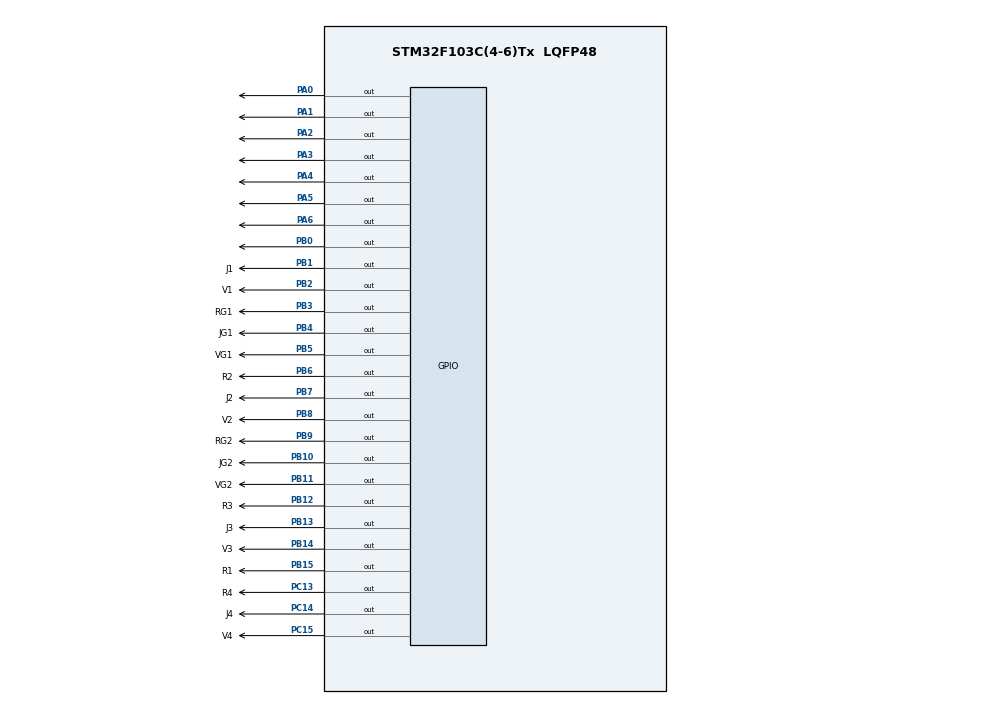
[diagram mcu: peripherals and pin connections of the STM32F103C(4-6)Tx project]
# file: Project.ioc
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Mcu.Family=STM32F1
Mcu.Name=STM32F103C(4-6)Tx
Mcu.Package=LQFP48
NVIC.PriorityGroup=NVIC_PRIORITYGROUP_4
PA0-WKUP.Signal=GPIO_Output
PA1.GPIO_PuPd=GPIO_PULLUP
PA1.Signal=GPIO_Output
PA2.GPIO_PuPd=GPIO_PULLUP
PA2.Signal=GPIO_Output
PA3.GPIO_PuPd=GPIO_PULLUP
PA3.Signal=GPIO_Output
PA4.GPIO_PuPd=GPIO_PULLUP
PA4.Signal=GPIO_Output
PA5.GPIO_PuPd=GPIO_PULLUP
PA5.Signal=GPIO_Output
PA6.Signal=GPIO_Output
PB0.Signal=GPIO_Output
PB1.GPIO_Label=J1
PB1.Signal=GPIO_Output
PB10.GPIO_Label=JG2
PB10.Signal=GPIO_Output
PB11.GPIO_Label=VG2
PB11.Signal=GPIO_Output
PB12.GPIO_Label=R3
PB12.Signal=GPIO_Output
PB13.GPIO_Label=J3
PB13.Signal=GPIO_Output
PB14.GPIO_Label=V3
PB14.Signal=GPIO_Output
PB15.GPIO_Label=R1
PB15.Signal=GPIO_Output
PB2.GPIO_Label=V1
PB2.Signal=GPIO_Output
PB3.GPIO_Label=RG1
PB3.Signal=GPIO_Output
PB4.GPIO_Label=JG1
PB4.Signal=GPIO_Output
PB5.GPIO_Label=VG1
PB5.Signal=GPIO_Output
PB6.GPIO_Label=R2
PB6.Signal=GPIO_Output
PB7.GPIO_Label=J2
PB7.Signal=GPIO_Output
PB8.GPIO_Label=V2
PB8.Signal=GPIO_Output
PB9.GPIO_Label=RG2
PB9.Signal=GPIO_Output
PC13-TAMPER-RTC.GPIO_Label=R4
PC13-TAMPER-RTC.Signal=GPIO_Output
PC14-OSC32_IN.GPIO_Label=J4
PC14-OSC32_IN.Signal=GPIO_Output
PC15-OSC32_OUT.GPIO_Label=V4
PC15-OSC32_OUT.Signal=GPIO_Output
ProjectManager.HeapSize=0x200
ProjectManager.StackSize=0x400
ProjectManager.TargetToolchain=STM32CubeIDE
RCC.APB1Freq_Value=8000000
RCC.APB2Freq_Value=8000000
VP_SYS_VS_ND.Mode=No_Debug
board=custom

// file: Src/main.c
/* USER CODE BEGIN Header */
/**
  ******************************************************************************
  * @file           : main.c
  * @brief          : Main program body
  ******************************************************************************
  * @attention
  *
  * <h2><center>&copy; Copyright (c) 2023 STMicroelectronics.
  * All rights reserved.</center></h2>
  *
  * This software component is licensed by ST under BSD 3-Clause license,
  * the "License"; You may not use this file except in compliance with the
  * License. You may obtain a copy of the License at:
  *                        opensource.org/licenses/BSD-3-Clause
  *
  ******************************************************************************
  */
/* USER CODE END Header */

#include "main.h"

void SystemClock_Config(void);
static void MX_GPIO_Init(void);

/* USER CODE BEGIN 0 */
void Decompt()
{
  uint8_t i,T[10]={0xc0, 0xf9, 0xa4, 0xb0, 0x99,0x92, 0x82, 0xf8, 0x80, 0x90};
  for (i=5;i>0;i--)
  {
    GPIOA->ODR= T[i-1];
    HAL_GPIO_TogglePin(GPIOB, GPIO_PIN_0);
    HAL_Delay(1000);
  }
}
/* USER CODE END 0 */

int main(void)
{

  /* MCU Configuration--------------------------------------------------------*/

  /* Reset of all peripherals, Initializes the Flash interface and the Systick. */
  HAL_Init();

  /* Configure the system clock */
  SystemClock_Config();

  /* Initialize all configured peripherals */
  MX_GPIO_Init();

  /* Infinite loop */
  while (1)
  {

    /* USER CODE BEGIN 3 */

    //Turn ON V1,V2,RG1,RG2 and R3
    HAL_GPIO_WritePin(GPIOB,V1_Pin|RG1_Pin |V2_Pin|RG2_Pin|R3_Pin, GPIO_PIN_SET);
    HAL_GPIO_WritePin(GPIOC,R4_Pin, GPIO_PIN_SET);
    //Turn OFF J1,J2,J3 and J4
    HAL_GPIO_WritePin(GPIOB,J1_Pin|J2_Pin|J3_Pin, GPIO_PIN_RESET);
    HAL_GPIO_WritePin(GPIOC,J4_Pin, GPIO_PIN_RESET);

   //Decompt
    Decompt();

    //Turn ON J1,J2,JG1 et JG2
    HAL_GPIO_WritePin(GPIOB,J1_Pin|JG1_Pin|J2_Pin|JG2_Pin,GPIO_PIN_SET);
    //Turn OFF V1 ,V2,RG1,RG2
    HAL_GPIO_WritePin(GPIOB,V1_Pin|V2_Pin|RG1_Pin|RG2_Pin, GPIO_PIN_RESET);

    //delay
    HAL_Delay(1000);

    //Turn OFF J1, J2 ,JG1,JG2, RG1, RG2,
    HAL_GPIO_WritePin(GPIOB,J1_Pin|JG1_Pin|RG1_Pin|J2_Pin|JG2_Pin|RG2_Pin,GPIO_PIN_RESET);
    //Turn ON R1,R2,VG1, VG2
    HAL_GPIO_WritePin(GPIOB, R1_Pin|R2_Pin|VG2_Pin|VG1_Pin, GPIO_PIN_SET);
    //Decompt
    Decompt();

    //allumer JG1,JG2,J3 and J4
    HAL_GPIO_WritePin(GPIOB,JG1_Pin|JG2_Pin|J3_Pin,GPIO_PIN_SET);
    HAL_GPIO_WritePin(GPIOC,J4_Pin,GPIO_PIN_SET);
    // Turn OFF VG1 ,VG2 and R3
    HAL_GPIO_WritePin(GPIOB,VG1_Pin|VG2_Pin|R3_Pin, GPIO_PIN_RESET);
    HAL_GPIO_WritePin(GPIOC,R4_Pin, GPIO_PIN_RESET);
    HAL_Delay(1000);

    //Turn ON V3,V4,RG1 et RG2
    HAL_GPIO_WritePin(GPIOB,V3_Pin|RG1_Pin|RG2_Pin,GPIO_PIN_SET);
    HAL_GPIO_WritePin(GPIOC,V4_Pin,GPIO_PIN_SET);
    //Turn OFF R3, R4, J3, J4, JG1 et JG2
    HAL_GPIO_WritePin(GPIOB,J3_Pin|R3_Pin|JG1_Pin|JG2_Pin,GPIO_PIN_RESET);
    HAL_GPIO_WritePin(GPIOC,J4_Pin|R4_Pin,GPIO_PIN_RESET);
    //Decompt
    Decompt();

    // Turn OFF V3,V4,R1 and R2
    HAL_GPIO_WritePin(GPIOB,V3_Pin|R1_Pin|R2_Pin,GPIO_PIN_RESET);
    HAL_GPIO_WritePin(GPIOC,V4_Pin,GPIO_PIN_RESET);
    //Turn ON J1,J2,J3 and J4
    HAL_GPIO_WritePin(GPIOB,J1_Pin|J2_Pin|J3_Pin,GPIO_PIN_SET);
    HAL_GPIO_WritePin(GPIOC,J4_Pin,GPIO_PIN_SET);
    HAL_Delay(1000);
  }
  /* USER CODE END 3 */
}

void SystemClock_Config(void)
{
  RCC_OscInitTypeDef RCC_OscInitStruct = {0};
  RCC_ClkInitTypeDef RCC_ClkInitStruct = {0};

  /** Initializes the CPU, AHB and APB busses clocks
  */
  RCC_OscInitStruct.OscillatorType = RCC_OSCILLATORTYPE_HSI;
  RCC_OscInitStruct.HSIState = RCC_HSI_ON;
  RCC_OscInitStruct.HSICalibrationValue = RCC_HSICALIBRATION_DEFAULT;
  RCC_OscInitStruct.PLL.PLLState = RCC_PLL_NONE;
  if (HAL_RCC_OscConfig(&RCC_OscInitStruct) != HAL_OK)
  {
    Error_Handler();
  }
  /** Initializes the CPU, AHB and APB busses clocks
  */
  RCC_ClkInitStruct.ClockType = RCC_CLOCKTYPE_HCLK|RCC_CLOCKTYPE_SYSCLK
                              |RCC_CLOCKTYPE_PCLK1|RCC_CLOCKTYPE_PCLK2;
  RCC_ClkInitStruct.SYSCLKSource = RCC_SYSCLKSOURCE_HSI;
  RCC_ClkInitStruct.AHBCLKDivider = RCC_SYSCLK_DIV1;
  RCC_ClkInitStruct.APB1CLKDivider = RCC_HCLK_DIV1;
  RCC_ClkInitStruct.APB2CLKDivider = RCC_HCLK_DIV1;

  if (HAL_RCC_ClockConfig(&RCC_ClkInitStruct, FLASH_LATENCY_0) != HAL_OK)
  {
    Error_Handler();
  }
}

static void MX_GPIO_Init(void)
{
  GPIO_InitTypeDef GPIO_InitStruct = {0};

  /* GPIO Ports Clock Enable */
  __HAL_RCC_GPIOC_CLK_ENABLE();
  __HAL_RCC_GPIOA_CLK_ENABLE();
  __HAL_RCC_GPIOB_CLK_ENABLE();

  /*Configure GPIO pin Output Level */
  HAL_GPIO_WritePin(GPIOC, R4_Pin|J4_Pin|V4_Pin, GPIO_PIN_RESET);

  /*Configure GPIO pin Output Level */
  HAL_GPIO_WritePin(GPIOA, GPIO_PIN_0|GPIO_PIN_1|GPIO_PIN_2|GPIO_PIN_3
                          |GPIO_PIN_4|GPIO_PIN_5|GPIO_PIN_6, GPIO_PIN_RESET);

  /*Configure GPIO pin Output Level */
  HAL_GPIO_WritePin(GPIOB, GPIO_PIN_0|J1_Pin|V1_Pin|JG2_Pin
                          |VG2_Pin|R3_Pin|J3_Pin|V3_Pin
                          |R1_Pin|RG1_Pin|JG1_Pin|VG1_Pin
                          |R2_Pin|J2_Pin|V2_Pin|RG2_Pin, GPIO_PIN_RESET);

  /*Configure GPIO pins : R4_Pin J4_Pin V4_Pin */
  GPIO_InitStruct.Pin = R4_Pin|J4_Pin|V4_Pin;
  GPIO_InitStruct.Mode = GPIO_MODE_OUTPUT_PP;
  GPIO_InitStruct.Pull = GPIO_NOPULL;
  GPIO_InitStruct.Speed = GPIO_SPEED_FREQ_LOW;
  HAL_GPIO_Init(GPIOC, &GPIO_InitStruct);

  /*Configure GPIO pins : PA0 PA6 */
  GPIO_InitStruct.Pin = GPIO_PIN_0|GPIO_PIN_6;
  GPIO_InitStruct.Mode = GPIO_MODE_OUTPUT_PP;
  GPIO_InitStruct.Pull = GPIO_NOPULL;
  GPIO_InitStruct.Speed = GPIO_SPEED_FREQ_LOW;
  HAL_GPIO_Init(GPIOA, &GPIO_InitStruct);

  /*Configure GPIO pins : PA1 PA2 PA3 PA4
                           PA5 */
  GPIO_InitStruct.Pin = GPIO_PIN_1|GPIO_PIN_2|GPIO_PIN_3|GPIO_PIN_4
                          |GPIO_PIN_5;
  GPIO_InitStruct.Mode = GPIO_MODE_OUTPUT_PP;
  GPIO_InitStruct.Pull = GPIO_PULLUP;
  GPIO_InitStruct.Speed = GPIO_SPEED_FREQ_LOW;
  HAL_GPIO_Init(GPIOA, &GPIO_InitStruct);

  /*Configure GPIO pins : PB0 J1_Pin V1_Pin JG2_Pin
                           VG2_Pin R3_Pin J3_Pin V3_Pin
                           R1_Pin RG1_Pin JG1_Pin VG1_Pin
                           R2_Pin J2_Pin V2_Pin RG2_Pin */
  GPIO_InitStruct.Pin = GPIO_PIN_0|J1_Pin|V1_Pin|JG2_Pin
                          |VG2_Pin|R3_Pin|J3_Pin|V3_Pin
                          |R1_Pin|RG1_Pin|JG1_Pin|VG1_Pin
                          |R2_Pin|J2_Pin|V2_Pin|RG2_Pin;
  GPIO_InitStruct.Mode = GPIO_MODE_OUTPUT_PP;
  GPIO_InitStruct.Pull = GPIO_NOPULL;
  GPIO_InitStruct.Speed = GPIO_SPEED_FREQ_LOW;
  HAL_GPIO_Init(GPIOB, &GPIO_InitStruct);

}

void Error_Handler(void)
{
}

/************************ (C) COPYRIGHT STMicroelectronics *****END OF FILE****/
